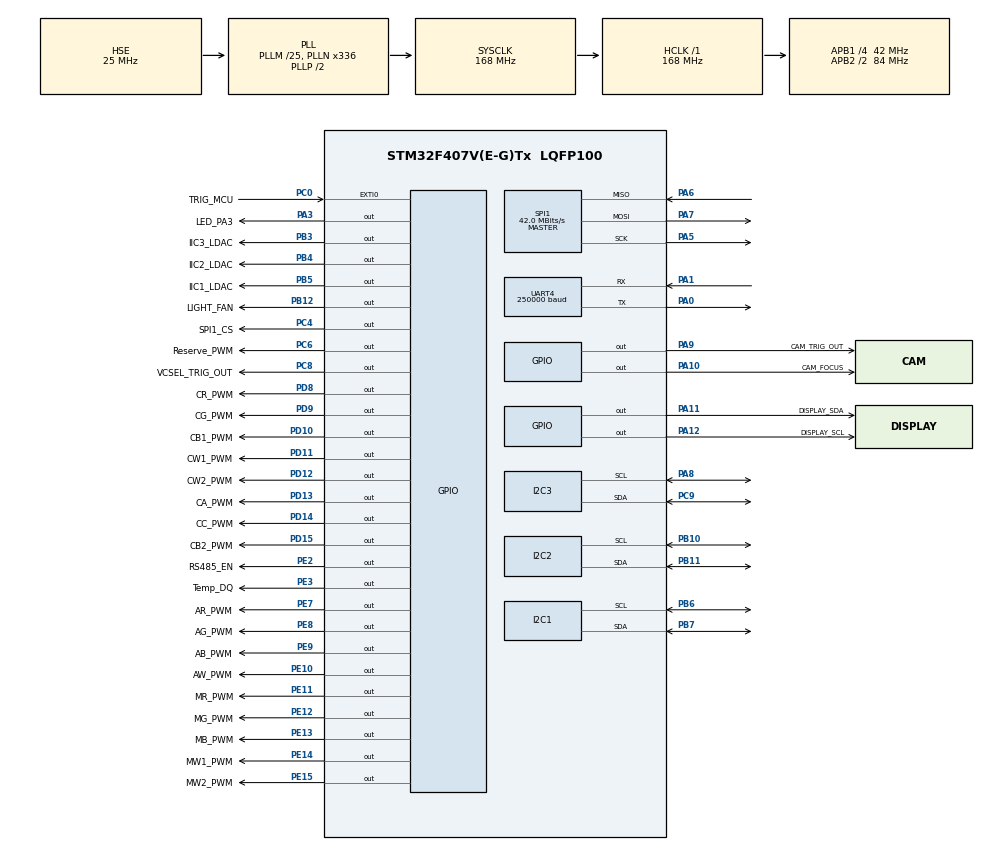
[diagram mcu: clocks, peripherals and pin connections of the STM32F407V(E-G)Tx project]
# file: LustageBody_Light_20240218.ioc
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Dma.Request0=UART4_RX
Dma.Request1=UART4_TX
Dma.UART4_RX.0.Direction=DMA_PERIPH_TO_MEMORY
Dma.UART4_RX.0.FIFOMode=DMA_FIFOMODE_DISABLE
Dma.UART4_RX.0.Instance=DMA1_Stream2
Dma.UART4_RX.0.MemDataAlignment=DMA_MDATAALIGN_BYTE
Dma.UART4_RX.0.MemInc=DMA_MINC_ENABLE
Dma.UART4_RX.0.Mode=DMA_NORMAL
Dma.UART4_RX.0.PeriphDataAlignment=DMA_PDATAALIGN_BYTE
Dma.UART4_RX.0.PeriphInc=DMA_PINC_DISABLE
Dma.UART4_RX.0.Priority=DMA_PRIORITY_LOW
Dma.UART4_TX.1.Direction=DMA_MEMORY_TO_PERIPH
Dma.UART4_TX.1.FIFOMode=DMA_FIFOMODE_DISABLE
Dma.UART4_TX.1.Instance=DMA1_Stream4
Dma.UART4_TX.1.MemDataAlignment=DMA_MDATAALIGN_BYTE
Dma.UART4_TX.1.MemInc=DMA_MINC_ENABLE
Dma.UART4_TX.1.Mode=DMA_NORMAL
Dma.UART4_TX.1.PeriphDataAlignment=DMA_PDATAALIGN_BYTE
Dma.UART4_TX.1.PeriphInc=DMA_PINC_DISABLE
Dma.UART4_TX.1.Priority=DMA_PRIORITY_LOW
I2C1.I2C_Mode=I2C_Fast
I2C2.I2C_Mode=I2C_Fast
I2C3.I2C_Mode=I2C_Fast
Mcu.Family=STM32F4
Mcu.Name=STM32F407V(E-G)Tx
Mcu.Package=LQFP100
NVIC.DMA1_Stream2_IRQn=true\:0\:0\:true\:false\:true\:false\:true\:true
NVIC.DMA1_Stream4_IRQn=true\:0\:0\:true\:false\:true\:false\:true\:true
NVIC.EXTI0_IRQn=true\:5\:0\:true\:false\:true\:true\:true\:true
NVIC.PriorityGroup=NVIC_PRIORITYGROUP_4
NVIC.TIM1_BRK_TIM9_IRQn=true\:0\:0\:false\:false\:true\:true\:true\:true
NVIC.TIM1_UP_TIM10_IRQn=true\:10\:0\:true\:false\:true\:true\:true\:true
NVIC.TIM2_IRQn=true\:0\:0\:true\:false\:true\:true\:true\:true
NVIC.TIM3_IRQn=true\:0\:0\:true\:false\:true\:true\:true\:true
NVIC.TIM4_IRQn=true\:0\:0\:false\:false\:true\:true\:true\:true
NVIC.TIM5_IRQn=true\:3\:0\:true\:false\:true\:true\:true\:true
NVIC.TIM6_DAC_IRQn=true\:10\:0\:true\:false\:true\:true\:true\:true
NVIC.TIM7_IRQn=true\:15\:0\:true\:false\:true\:true\:true\:true
NVIC.TIM8_BRK_TIM12_IRQn=true\:5\:0\:true\:false\:true\:true\:true\:true
NVIC.TIM8_UP_TIM13_IRQn=true\:5\:0\:true\:false\:true\:true\:true\:true
NVIC.UART4_IRQn=true\:0\:0\:true\:false\:true\:true\:true\:true
PA0-WKUP.Mode=Asynchronous
PA0-WKUP.Signal=UART4_TX
PA1.Mode=Asynchronous
PA1.Signal=UART4_RX
PA10.GPIO_Label=CAM_FOCUS
PA10.Signal=GPIO_Output
PA11.GPIO_Label=DISPLAY_SDA
PA11.Signal=GPIO_Output
PA12.GPIO_Label=DISPLAY_SCL
PA12.Signal=GPIO_Output
PA13.Mode=Serial_Wire
PA13.Signal=SYS_JTMS-SWDIO
PA14.Mode=Serial_Wire
PA14.Signal=SYS_JTCK-SWCLK
PA3.GPIO_Label=LED_PA3
PA3.GPIO_Speed=GPIO_SPEED_FREQ_LOW
PA3.PinState=GPIO_PIN_SET
PA3.Signal=GPIO_Output
PA5.Mode=Full_Duplex_Master
PA5.Signal=SPI1_SCK
PA6.Mode=Full_Duplex_Master
PA6.Signal=SPI1_MISO
PA7.Mode=Full_Duplex_Master
PA7.Signal=SPI1_MOSI
PA8.Mode=I2C
PA8.Signal=I2C3_SCL
PA9.GPIO_Label=CAM_TRIG_OUT
PA9.Signal=GPIO_Output
PB10.Mode=I2C
PB10.Signal=I2C2_SCL
PB11.Mode=I2C
PB11.Signal=I2C2_SDA
PB12.GPIO_Label=LIGHT_FAN
PB12.Signal=GPIO_Output
PB3.GPIO_Label=IIC3_LDAC
PB3.Signal=GPIO_Output
PB4.GPIO_Label=IIC2_LDAC
PB4.Signal=GPIO_Output
PB5.GPIO_Label=IIC1_LDAC
PB5.Signal=GPIO_Output
PB6.Mode=I2C
PB6.Signal=I2C1_SCL
PB7.Mode=I2C
PB7.Signal=I2C1_SDA
PC0.GPIO_Label=TRIG_MCU
PC0.Signal=GPXTI0
PC4.GPIO_Label=SPI1_CS
PC4.Signal=GPIO_Output
PC6.GPIO_Label=Reserve_PWM
PC6.Signal=GPIO_Output
PC8.GPIO_Label=VCSEL_TRIG_OUT
PC8.Signal=GPIO_Output
PC9.Mode=I2C
PC9.Signal=I2C3_SDA
PD10.GPIO_Label=CB1_PWM
PD10.GPIO_Speed=GPIO_SPEED_FREQ_VERY_HIGH
PD10.Signal=GPIO_Output
PD11.GPIO_Label=CW1_PWM
PD11.GPIO_Speed=GPIO_SPEED_FREQ_VERY_HIGH
PD11.Signal=GPIO_Output
PD12.GPIO_Label=CW2_PWM
PD12.GPIO_Speed=GPIO_SPEED_FREQ_VERY_HIGH
PD12.Signal=GPIO_Output
PD13.GPIO_Label=CA_PWM
PD13.GPIO_Speed=GPIO_SPEED_FREQ_VERY_HIGH
PD13.Signal=GPIO_Output
PD14.GPIO_Label=CC_PWM
PD14.GPIO_Speed=GPIO_SPEED_FREQ_VERY_HIGH
PD14.Signal=GPIO_Output
PD15.GPIO_Label=CB2_PWM
PD15.GPIO_Speed=GPIO_SPEED_FREQ_VERY_HIGH
PD15.Signal=GPIO_Output
PD8.GPIO_Label=CR_PWM
PD8.GPIO_Speed=GPIO_SPEED_FREQ_VERY_HIGH
PD8.Signal=GPIO_Output
PD9.GPIO_Label=CG_PWM
PD9.GPIO_Speed=GPIO_SPEED_FREQ_VERY_HIGH
PD9.Signal=GPIO_Output
PE10.GPIO_Label=AW_PWM
PE10.GPIO_Speed=GPIO_SPEED_FREQ_VERY_HIGH
PE10.Signal=GPIO_Output
PE11.GPIO_Label=MR_PWM
PE11.GPIO_Speed=GPIO_SPEED_FREQ_VERY_HIGH
PE11.Signal=GPIO_Output
PE12.GPIO_Label=MG_PWM
PE12.GPIO_Speed=GPIO_SPEED_FREQ_VERY_HIGH
PE12.Signal=GPIO_Output
PE13.GPIO_Label=MB_PWM
PE13.GPIO_Speed=GPIO_SPEED_FREQ_VERY_HIGH
PE13.Signal=GPIO_Output
PE14.GPIO_Label=MW1_PWM
PE14.GPIO_Speed=GPIO_SPEED_FREQ_VERY_HIGH
PE14.Signal=GPIO_Output
PE15.GPIO_Label=MW2_PWM
PE15.GPIO_Speed=GPIO_SPEED_FREQ_VERY_HIGH
PE15.Signal=GPIO_Output
PE2.GPIO_Label=RS485_EN
PE2.Signal=GPIO_Output
PE3.GPIO_Label=Temp_DQ
PE3.Signal=GPIO_Output
PE7.GPIO_Label=AR_PWM
PE7.GPIO_Speed=GPIO_SPEED_FREQ_VERY_HIGH
PE7.Signal=GPIO_Output
PE8.GPIO_Label=AG_PWM
PE8.GPIO_Speed=GPIO_SPEED_FREQ_VERY_HIGH
PE8.Signal=GPIO_Output
PE9.GPIO_Label=AB_PWM
PE9.GPIO_Speed=GPIO_SPEED_FREQ_VERY_HIGH
PE9.Signal=GPIO_Output
PH0-OSC_IN.Mode=HSE-External-Oscillator
PH0-OSC_IN.Signal=RCC_OSC_IN
PH1-OSC_OUT.Mode=HSE-External-Oscillator
PH1-OSC_OUT.Signal=RCC_OSC_OUT
ProjectManager.HeapSize=0x200
ProjectManager.StackSize=0x400
ProjectManager.TargetToolchain=MDK-ARM V5.32
RCC.48MHZClocksFreq_Value=84000000
RCC.AHBFreq_Value=168000000
RCC.APB1CLKDivider=RCC_HCLK_DIV4
RCC.APB1Freq_Value=42000000
RCC.APB1TimFreq_Value=84000000
RCC.APB2CLKDivider=RCC_HCLK_DIV2
RCC.APB2Freq_Value=84000000
RCC.APB2TimFreq_Value=168000000
RCC.CortexFreq_Value=168000000
RCC.HCLKFreq_Value=168000000
RCC.HSE_VALUE=25000000
RCC.HSI_VALUE=16000000
RCC.LSE_VALUE=32768
RCC.PLLM=25
RCC.PLLN=336
RCC.PLLSourceVirtual=RCC_PLLSOURCE_HSE
RCC.SYSCLKFreq_VALUE=168000000
RCC.SYSCLKSource=RCC_SYSCLKSOURCE_PLLCLK
RCC.VCOOutputFreq_Value=336000000
SPI1.BaudRatePrescaler=SPI_BAUDRATEPRESCALER_2
SPI1.CalculateBaudRate=42.0 MBits/s
SPI1.Direction=SPI_DIRECTION_2LINES
SPI1.Mode=SPI_MODE_MASTER
SPI1.VirtualType=VM_MASTER
TIM1.AutoReloadPreload=TIM_AUTORELOAD_PRELOAD_ENABLE
TIM1.Period=840-1
TIM10.Period=1680-1
TIM12.Period=840-1
TIM2.AutoReloadPreload=TIM_AUTORELOAD_PRELOAD_ENABLE
TIM2.Period=420-1
TIM2.Prescaler=0
TIM3.AutoReloadPreload=TIM_AUTORELOAD_PRELOAD_ENABLE
TIM3.Period=420-1
TIM3.Prescaler=0
TIM4.Period=420-1
TIM5.Period=8400-1
TIM6.AutoReloadPreload=TIM_AUTORELOAD_PRELOAD_ENABLE
TIM6.Period=420-1
TIM7.AutoReloadPreload=TIM_AUTORELOAD_PRELOAD_ENABLE
TIM7.Period=840-1
TIM8.Period=1000-1
TIM8.Prescaler=1680
TIM9.Period=20000-1
TIM9.Prescaler=16800-1
UART4.BaudRate=250000
UART4.VirtualMode=Asynchronous
VP_TIM10_VS_ClockSourceINT.Mode=Enable_Timer
VP_TIM12_VS_ClockSourceINT.Mode=Internal
VP_TIM1_VS_ClockSourceINT.Mode=Internal
VP_TIM2_VS_ClockSourceINT.Mode=Internal
VP_TIM3_VS_ClockSourceINT.Mode=Internal
VP_TIM4_VS_ClockSourceINT.Mode=Internal
VP_TIM5_VS_ClockSourceINT.Mode=Internal
VP_TIM6_VS_ClockSourceINT.Mode=Enable_Timer
VP_TIM7_VS_ClockSourceINT.Mode=Enable_Timer
VP_TIM8_VS_ClockSourceINT.Mode=Internal
VP_TIM9_VS_ClockSourceINT.Mode=Internal
board=custom

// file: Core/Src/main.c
/* USER CODE BEGIN Header */
/**
  ******************************************************************************
  * @file           : main.c
  * @brief          : Main program body
  ******************************************************************************
  * @attention
  *
  * Copyright (c) 2024 STMicroelectronics.
  * All rights reserved.
  *
  * This software is licensed under terms that can be found in the LICENSE file
  * in the root directory of this software component.
  * If no LICENSE file comes with this software, it is provided AS-IS.
  *
  ******************************************************************************
  */
/* USER CODE END Header */
#include "main.h"

/* USER CODE BEGIN Includes */
#include "user.h"
#include "board_i2c.h"
#include "bsp_flash.h"
#include "tm1650.h"
#include "drv_18b20.h"
/* USER CODE END Includes */

I2C_HandleTypeDef hi2c1;
I2C_HandleTypeDef hi2c2;
I2C_HandleTypeDef hi2c3;

SPI_HandleTypeDef hspi1;

TIM_HandleTypeDef htim1;
TIM_HandleTypeDef htim2;
TIM_HandleTypeDef htim3;
TIM_HandleTypeDef htim4;
TIM_HandleTypeDef htim5;
TIM_HandleTypeDef htim6;
TIM_HandleTypeDef htim7;
TIM_HandleTypeDef htim8;
TIM_HandleTypeDef htim9;
TIM_HandleTypeDef htim10;
TIM_HandleTypeDef htim12;

UART_HandleTypeDef huart4;
DMA_HandleTypeDef hdma_uart4_rx;
DMA_HandleTypeDef hdma_uart4_tx;

void SystemClock_Config(void);
static void MX_GPIO_Init(void);
static void MX_DMA_Init(void);
static void MX_I2C1_Init(void);
static void MX_I2C2_Init(void);
static void MX_I2C3_Init(void);
static void MX_SPI1_Init(void);
static void MX_UART4_Init(void);
static void MX_TIM3_Init(void);
static void MX_TIM4_Init(void);
static void MX_TIM5_Init(void);
static void MX_TIM9_Init(void);
static void MX_TIM12_Init(void);
static void MX_TIM1_Init(void);
static void MX_TIM10_Init(void);
static void MX_TIM2_Init(void);
static void MX_TIM6_Init(void);
static void MX_TIM7_Init(void);
static void MX_TIM8_Init(void);

/* USER CODE BEGIN 0 */
extern FlashParam_TypeDef FlashParam_Struct;
extern LED_Para_TypeDef LED_Para_Struct ;
extern _18B20_Config_TypeDef _18B20_Config_Struct_Temp;
uint16_t time_count1=0,time_count2=0,time_cnt=0,time_cnt1=0;

uint8_t  cnt1 = 0,cnt2 = 0,cnt3 = 0,cnt_t = 0;
/* USER CODE END 0 */

int main(void)
{

  /* MCU Configuration--------------------------------------------------------*/

  /* Reset of all peripherals, Initializes the Flash interface and the Systick. */
  HAL_Init();

  /* Configure the system clock */
  SystemClock_Config();

  /* Initialize all configured peripherals */
  MX_GPIO_Init();
  MX_DMA_Init();
  MX_I2C1_Init();
  MX_I2C2_Init();
  MX_I2C3_Init();
  MX_SPI1_Init();
  MX_UART4_Init();
  MX_TIM3_Init();
  MX_TIM4_Init();
  MX_TIM5_Init();
  MX_TIM9_Init();
  MX_TIM12_Init();
  MX_TIM1_Init();
  MX_TIM10_Init();
  MX_TIM2_Init();
  MX_TIM6_Init();
  MX_TIM7_Init();
  MX_TIM8_Init();
  /* USER CODE BEGIN 2 */
  Comm_Init();
  IIC_Init();
  Parameter_Init();

  /* USER CODE END 2 */

  /* Infinite loop */
  /* USER CODE BEGIN WHILE */
  while (1)
  {

		Comm_Function_Handler();
	  LED_State_Updata();
		LED_OTP_Handler();

    /* USER CODE END WHILE */

    /* USER CODE BEGIN 3 */
//		HAL_Delay(100);
//		HAL_GPIO_TogglePin(LED_PA3_GPIO_Port,LED_PA3_Pin);

  }
  /* USER CODE END 3 */
}

void SystemClock_Config(void)
{
  RCC_OscInitTypeDef RCC_OscInitStruct = {0};
  RCC_ClkInitTypeDef RCC_ClkInitStruct = {0};

  /** Configure the main internal regulator output voltage
  */
  __HAL_RCC_PWR_CLK_ENABLE();
  __HAL_PWR_VOLTAGESCALING_CONFIG(PWR_REGULATOR_VOLTAGE_SCALE1);

  /** Initializes the RCC Oscillators according to the specified parameters
  * in the RCC_OscInitTypeDef structure.
  */
  RCC_OscInitStruct.OscillatorType = RCC_OSCILLATORTYPE_HSE;
  RCC_OscInitStruct.HSEState = RCC_HSE_ON;
  RCC_OscInitStruct.PLL.PLLState = RCC_PLL_ON;
  RCC_OscInitStruct.PLL.PLLSource = RCC_PLLSOURCE_HSE;
  RCC_OscInitStruct.PLL.PLLM = 25;
  RCC_OscInitStruct.PLL.PLLN = 336;
  RCC_OscInitStruct.PLL.PLLP = RCC_PLLP_DIV2;
  RCC_OscInitStruct.PLL.PLLQ = 4;
  if (HAL_RCC_OscConfig(&RCC_OscInitStruct) != HAL_OK)
  {
    Error_Handler();
  }

  /** Initializes the CPU, AHB and APB buses clocks
  */
  RCC_ClkInitStruct.ClockType = RCC_CLOCKTYPE_HCLK|RCC_CLOCKTYPE_SYSCLK
                              |RCC_CLOCKTYPE_PCLK1|RCC_CLOCKTYPE_PCLK2;
  RCC_ClkInitStruct.SYSCLKSource = RCC_SYSCLKSOURCE_PLLCLK;
  RCC_ClkInitStruct.AHBCLKDivider = RCC_SYSCLK_DIV1;
  RCC_ClkInitStruct.APB1CLKDivider = RCC_HCLK_DIV4;
  RCC_ClkInitStruct.APB2CLKDivider = RCC_HCLK_DIV2;

  if (HAL_RCC_ClockConfig(&RCC_ClkInitStruct, FLASH_LATENCY_5) != HAL_OK)
  {
    Error_Handler();
  }
}

static void MX_I2C1_Init(void)
{

  hi2c1.Instance = I2C1;
  hi2c1.Init.ClockSpeed = 400000;
  hi2c1.Init.DutyCycle = I2C_DUTYCYCLE_2;
  hi2c1.Init.OwnAddress1 = 0;
  hi2c1.Init.AddressingMode = I2C_ADDRESSINGMODE_7BIT;
  hi2c1.Init.DualAddressMode = I2C_DUALADDRESS_DISABLE;
  hi2c1.Init.OwnAddress2 = 0;
  hi2c1.Init.GeneralCallMode = I2C_GENERALCALL_DISABLE;
  hi2c1.Init.NoStretchMode = I2C_NOSTRETCH_DISABLE;
  if (HAL_I2C_Init(&hi2c1) != HAL_OK)
  {
    Error_Handler();
  }

}

static void MX_I2C2_Init(void)
{

  hi2c2.Instance = I2C2;
  hi2c2.Init.ClockSpeed = 400000;
  hi2c2.Init.DutyCycle = I2C_DUTYCYCLE_2;
  hi2c2.Init.OwnAddress1 = 0;
  hi2c2.Init.AddressingMode = I2C_ADDRESSINGMODE_7BIT;
  hi2c2.Init.DualAddressMode = I2C_DUALADDRESS_DISABLE;
  hi2c2.Init.OwnAddress2 = 0;
  hi2c2.Init.GeneralCallMode = I2C_GENERALCALL_DISABLE;
  hi2c2.Init.NoStretchMode = I2C_NOSTRETCH_DISABLE;
  if (HAL_I2C_Init(&hi2c2) != HAL_OK)
  {
    Error_Handler();
  }

}

static void MX_I2C3_Init(void)
{

  hi2c3.Instance = I2C3;
  hi2c3.Init.ClockSpeed = 400000;
  hi2c3.Init.DutyCycle = I2C_DUTYCYCLE_2;
  hi2c3.Init.OwnAddress1 = 0;
  hi2c3.Init.AddressingMode = I2C_ADDRESSINGMODE_7BIT;
  hi2c3.Init.DualAddressMode = I2C_DUALADDRESS_DISABLE;
  hi2c3.Init.OwnAddress2 = 0;
  hi2c3.Init.GeneralCallMode = I2C_GENERALCALL_DISABLE;
  hi2c3.Init.NoStretchMode = I2C_NOSTRETCH_DISABLE;
  if (HAL_I2C_Init(&hi2c3) != HAL_OK)
  {
    Error_Handler();
  }

}

static void MX_SPI1_Init(void)
{

  /* SPI1 parameter configuration*/
  hspi1.Instance = SPI1;
  hspi1.Init.Mode = SPI_MODE_MASTER;
  hspi1.Init.Direction = SPI_DIRECTION_2LINES;
  hspi1.Init.DataSize = SPI_DATASIZE_8BIT;
  hspi1.Init.CLKPolarity = SPI_POLARITY_LOW;
  hspi1.Init.CLKPhase = SPI_PHASE_1EDGE;
  hspi1.Init.NSS = SPI_NSS_SOFT;
  hspi1.Init.BaudRatePrescaler = SPI_BAUDRATEPRESCALER_2;
  hspi1.Init.FirstBit = SPI_FIRSTBIT_MSB;
  hspi1.Init.TIMode = SPI_TIMODE_DISABLE;
  hspi1.Init.CRCCalculation = SPI_CRCCALCULATION_DISABLE;
  hspi1.Init.CRCPolynomial = 10;
  if (HAL_SPI_Init(&hspi1) != HAL_OK)
  {
    Error_Handler();
  }

}

static void MX_TIM1_Init(void)
{

  TIM_ClockConfigTypeDef sClockSourceConfig = {0};
  TIM_MasterConfigTypeDef sMasterConfig = {0};

  htim1.Instance = TIM1;
  htim1.Init.Prescaler = 0;
  htim1.Init.CounterMode = TIM_COUNTERMODE_UP;
  htim1.Init.Period = 840-1;
  htim1.Init.ClockDivision = TIM_CLOCKDIVISION_DIV1;
  htim1.Init.RepetitionCounter = 0;
  htim1.Init.AutoReloadPreload = TIM_AUTORELOAD_PRELOAD_ENABLE;
  if (HAL_TIM_Base_Init(&htim1) != HAL_OK)
  {
    Error_Handler();
  }
  sClockSourceConfig.ClockSource = TIM_CLOCKSOURCE_INTERNAL;
  if (HAL_TIM_ConfigClockSource(&htim1, &sClockSourceConfig) != HAL_OK)
  {
    Error_Handler();
  }
  sMasterConfig.MasterOutputTrigger = TIM_TRGO_RESET;
  sMasterConfig.MasterSlaveMode = TIM_MASTERSLAVEMODE_DISABLE;
  if (HAL_TIMEx_MasterConfigSynchronization(&htim1, &sMasterConfig) != HAL_OK)
  {
    Error_Handler();
  }

}

static void MX_TIM2_Init(void)
{

  TIM_ClockConfigTypeDef sClockSourceConfig = {0};
  TIM_MasterConfigTypeDef sMasterConfig = {0};

  htim2.Instance = TIM2;
  htim2.Init.Prescaler = 0;
  htim2.Init.CounterMode = TIM_COUNTERMODE_UP;
  htim2.Init.Period = 420-1;
  htim2.Init.ClockDivision = TIM_CLOCKDIVISION_DIV1;
  htim2.Init.AutoReloadPreload = TIM_AUTORELOAD_PRELOAD_ENABLE;
  if (HAL_TIM_Base_Init(&htim2) != HAL_OK)
  {
    Error_Handler();
  }
  sClockSourceConfig.ClockSource = TIM_CLOCKSOURCE_INTERNAL;
  if (HAL_TIM_ConfigClockSource(&htim2, &sClockSourceConfig) != HAL_OK)
  {
    Error_Handler();
  }
  sMasterConfig.MasterOutputTrigger = TIM_TRGO_RESET;
  sMasterConfig.MasterSlaveMode = TIM_MASTERSLAVEMODE_DISABLE;
  if (HAL_TIMEx_MasterConfigSynchronization(&htim2, &sMasterConfig) != HAL_OK)
  {
    Error_Handler();
  }

}

static void MX_TIM3_Init(void)
{

  TIM_ClockConfigTypeDef sClockSourceConfig = {0};
  TIM_MasterConfigTypeDef sMasterConfig = {0};

  htim3.Instance = TIM3;
  htim3.Init.Prescaler = 0;
  htim3.Init.CounterMode = TIM_COUNTERMODE_UP;
  htim3.Init.Period = 420-1;
  htim3.Init.ClockDivision = TIM_CLOCKDIVISION_DIV1;
  htim3.Init.AutoReloadPreload = TIM_AUTORELOAD_PRELOAD_ENABLE;
  if (HAL_TIM_Base_Init(&htim3) != HAL_OK)
  {
    Error_Handler();
  }
  sClockSourceConfig.ClockSource = TIM_CLOCKSOURCE_INTERNAL;
  if (HAL_TIM_ConfigClockSource(&htim3, &sClockSourceConfig) != HAL_OK)
  {
    Error_Handler();
  }
  sMasterConfig.MasterOutputTrigger = TIM_TRGO_RESET;
  sMasterConfig.MasterSlaveMode = TIM_MASTERSLAVEMODE_DISABLE;
  if (HAL_TIMEx_MasterConfigSynchronization(&htim3, &sMasterConfig) != HAL_OK)
  {
    Error_Handler();
  }

}

static void MX_TIM4_Init(void)
{

  TIM_ClockConfigTypeDef sClockSourceConfig = {0};
  TIM_MasterConfigTypeDef sMasterConfig = {0};

  htim4.Instance = TIM4;
  htim4.Init.Prescaler = 0;
  htim4.Init.CounterMode = TIM_COUNTERMODE_UP;
  htim4.Init.Period = 420-1;
  htim4.Init.ClockDivision = TIM_CLOCKDIVISION_DIV1;
  htim4.Init.AutoReloadPreload = TIM_AUTORELOAD_PRELOAD_DISABLE;
  if (HAL_TIM_Base_Init(&htim4) != HAL_OK)
  {
    Error_Handler();
  }
  sClockSourceConfig.ClockSource = TIM_CLOCKSOURCE_INTERNAL;
  if (HAL_TIM_ConfigClockSource(&htim4, &sClockSourceConfig) != HAL_OK)
  {
    Error_Handler();
  }
  sMasterConfig.MasterOutputTrigger = TIM_TRGO_RESET;
  sMasterConfig.MasterSlaveMode = TIM_MASTERSLAVEMODE_DISABLE;
  if (HAL_TIMEx_MasterConfigSynchronization(&htim4, &sMasterConfig) != HAL_OK)
  {
    Error_Handler();
  }

}

static void MX_TIM5_Init(void)
{

  TIM_ClockConfigTypeDef sClockSourceConfig = {0};
  TIM_MasterConfigTypeDef sMasterConfig = {0};

  htim5.Instance = TIM5;
  htim5.Init.Prescaler = 0;
  htim5.Init.CounterMode = TIM_COUNTERMODE_UP;
  htim5.Init.Period = 8400-1;
  htim5.Init.ClockDivision = TIM_CLOCKDIVISION_DIV1;
  htim5.Init.AutoReloadPreload = TIM_AUTORELOAD_PRELOAD_DISABLE;
  if (HAL_TIM_Base_Init(&htim5) != HAL_OK)
  {
    Error_Handler();
  }
  sClockSourceConfig.ClockSource = TIM_CLOCKSOURCE_INTERNAL;
  if (HAL_TIM_ConfigClockSource(&htim5, &sClockSourceConfig) != HAL_OK)
  {
    Error_Handler();
  }
  sMasterConfig.MasterOutputTrigger = TIM_TRGO_RESET;
  sMasterConfig.MasterSlaveMode = TIM_MASTERSLAVEMODE_DISABLE;
  if (HAL_TIMEx_MasterConfigSynchronization(&htim5, &sMasterConfig) != HAL_OK)
  {
    Error_Handler();
  }

}

static void MX_TIM6_Init(void)
{

  TIM_MasterConfigTypeDef sMasterConfig = {0};

  htim6.Instance = TIM6;
  htim6.Init.Prescaler = 0;
  htim6.Init.CounterMode = TIM_COUNTERMODE_UP;
  htim6.Init.Period = 420-1;
  htim6.Init.AutoReloadPreload = TIM_AUTORELOAD_PRELOAD_ENABLE;
  if (HAL_TIM_Base_Init(&htim6) != HAL_OK)
  {
    Error_Handler();
  }
  sMasterConfig.MasterOutputTrigger = TIM_TRGO_RESET;
  sMasterConfig.MasterSlaveMode = TIM_MASTERSLAVEMODE_DISABLE;
  if (HAL_TIMEx_MasterConfigSynchronization(&htim6, &sMasterConfig) != HAL_OK)
  {
    Error_Handler();
  }

}

static void MX_TIM7_Init(void)
{

  TIM_MasterConfigTypeDef sMasterConfig = {0};

  htim7.Instance = TIM7;
  htim7.Init.Prescaler = 0;
  htim7.Init.CounterMode = TIM_COUNTERMODE_UP;
  htim7.Init.Period = 840-1;
  htim7.Init.AutoReloadPreload = TIM_AUTORELOAD_PRELOAD_ENABLE;
  if (HAL_TIM_Base_Init(&htim7) != HAL_OK)
  {
    Error_Handler();
  }
  sMasterConfig.MasterOutputTrigger = TIM_TRGO_RESET;
  sMasterConfig.MasterSlaveMode = TIM_MASTERSLAVEMODE_DISABLE;
  if (HAL_TIMEx_MasterConfigSynchronization(&htim7, &sMasterConfig) != HAL_OK)
  {
    Error_Handler();
  }

}

static void MX_TIM8_Init(void)
{

  TIM_ClockConfigTypeDef sClockSourceConfig = {0};
  TIM_MasterConfigTypeDef sMasterConfig = {0};

  htim8.Instance = TIM8;
  htim8.Init.Prescaler = 1680;
  htim8.Init.CounterMode = TIM_COUNTERMODE_UP;
  htim8.Init.Period = 1000-1;
  htim8.Init.ClockDivision = TIM_CLOCKDIVISION_DIV1;
  htim8.Init.RepetitionCounter = 0;
  htim8.Init.AutoReloadPreload = TIM_AUTORELOAD_PRELOAD_DISABLE;
  if (HAL_TIM_Base_Init(&htim8) != HAL_OK)
  {
    Error_Handler();
  }
  sClockSourceConfig.ClockSource = TIM_CLOCKSOURCE_INTERNAL;
  if (HAL_TIM_ConfigClockSource(&htim8, &sClockSourceConfig) != HAL_OK)
  {
    Error_Handler();
  }
  sMasterConfig.MasterOutputTrigger = TIM_TRGO_RESET;
  sMasterConfig.MasterSlaveMode = TIM_MASTERSLAVEMODE_DISABLE;
  if (HAL_TIMEx_MasterConfigSynchronization(&htim8, &sMasterConfig) != HAL_OK)
  {
    Error_Handler();
  }

}

static void MX_TIM9_Init(void)
{

  TIM_ClockConfigTypeDef sClockSourceConfig = {0};

  htim9.Instance = TIM9;
  htim9.Init.Prescaler = 16800-1;
  htim9.Init.CounterMode = TIM_COUNTERMODE_UP;
  htim9.Init.Period = 20000-1;
  htim9.Init.ClockDivision = TIM_CLOCKDIVISION_DIV1;
  htim9.Init.AutoReloadPreload = TIM_AUTORELOAD_PRELOAD_DISABLE;
  if (HAL_TIM_Base_Init(&htim9) != HAL_OK)
  {
    Error_Handler();
  }
  sClockSourceConfig.ClockSource = TIM_CLOCKSOURCE_INTERNAL;
  if (HAL_TIM_ConfigClockSource(&htim9, &sClockSourceConfig) != HAL_OK)
  {
    Error_Handler();
  }

}

static void MX_TIM10_Init(void)
{

  htim10.Instance = TIM10;
  htim10.Init.Prescaler = 0;
  htim10.Init.CounterMode = TIM_COUNTERMODE_UP;
  htim10.Init.Period = 1680-1;
  htim10.Init.ClockDivision = TIM_CLOCKDIVISION_DIV1;
  htim10.Init.AutoReloadPreload = TIM_AUTORELOAD_PRELOAD_DISABLE;
  if (HAL_TIM_Base_Init(&htim10) != HAL_OK)
  {
    Error_Handler();
  }

}

static void MX_TIM12_Init(void)
{

  TIM_ClockConfigTypeDef sClockSourceConfig = {0};

  htim12.Instance = TIM12;
  htim12.Init.Prescaler = 0;
  htim12.Init.CounterMode = TIM_COUNTERMODE_UP;
  htim12.Init.Period = 840-1;
  htim12.Init.ClockDivision = TIM_CLOCKDIVISION_DIV1;
  htim12.Init.AutoReloadPreload = TIM_AUTORELOAD_PRELOAD_DISABLE;
  if (HAL_TIM_Base_Init(&htim12) != HAL_OK)
  {
    Error_Handler();
  }
  sClockSourceConfig.ClockSource = TIM_CLOCKSOURCE_INTERNAL;
  if (HAL_TIM_ConfigClockSource(&htim12, &sClockSourceConfig) != HAL_OK)
  {
    Error_Handler();
  }

}

static void MX_UART4_Init(void)
{

  huart4.Instance = UART4;
  huart4.Init.BaudRate = 250000;
  huart4.Init.WordLength = UART_WORDLENGTH_8B;
  huart4.Init.StopBits = UART_STOPBITS_1;
  huart4.Init.Parity = UART_PARITY_NONE;
  huart4.Init.Mode = UART_MODE_TX_RX;
  huart4.Init.HwFlowCtl = UART_HWCONTROL_NONE;
  huart4.Init.OverSampling = UART_OVERSAMPLING_16;
  if (HAL_UART_Init(&huart4) != HAL_OK)
  {
    Error_Handler();
  }

}

static void MX_DMA_Init(void)
{

  /* DMA controller clock enable */
  __HAL_RCC_DMA1_CLK_ENABLE();

  /* DMA interrupt init */
  /* DMA1_Stream2_IRQn interrupt configuration */
  HAL_NVIC_SetPriority(DMA1_Stream2_IRQn, 0, 0);
  HAL_NVIC_EnableIRQ(DMA1_Stream2_IRQn);
  /* DMA1_Stream4_IRQn interrupt configuration */
  HAL_NVIC_SetPriority(DMA1_Stream4_IRQn, 0, 0);
  HAL_NVIC_EnableIRQ(DMA1_Stream4_IRQn);

}

static void MX_GPIO_Init(void)
{
  GPIO_InitTypeDef GPIO_InitStruct = {0};

  /* GPIO Ports Clock Enable */
  __HAL_RCC_GPIOE_CLK_ENABLE();
  __HAL_RCC_GPIOH_CLK_ENABLE();
  __HAL_RCC_GPIOC_CLK_ENABLE();
  __HAL_RCC_GPIOA_CLK_ENABLE();
  __HAL_RCC_GPIOB_CLK_ENABLE();
  __HAL_RCC_GPIOD_CLK_ENABLE();

  /*Configure GPIO pin Output Level */
  HAL_GPIO_WritePin(GPIOE, RS485_EN_Pin|Temp_DQ_Pin|AR_PWM_Pin|AG_PWM_Pin
                          |AB_PWM_Pin|AW_PWM_Pin|MR_PWM_Pin|MG_PWM_Pin
                          |MB_PWM_Pin|MW1_PWM_Pin|MW2_PWM_Pin, GPIO_PIN_RESET);

  /*Configure GPIO pin Output Level */
  HAL_GPIO_WritePin(LED_PA3_GPIO_Port, LED_PA3_Pin, GPIO_PIN_SET);

  /*Configure GPIO pin Output Level */
  HAL_GPIO_WritePin(GPIOC, SPI1_CS_Pin|Reserve_PWM_Pin|VCSEL_TRIG_OUT_Pin, GPIO_PIN_RESET);

  /*Configure GPIO pin Output Level */
  HAL_GPIO_WritePin(GPIOB, LIGHT_FAN_Pin|IIC3_LDAC_Pin|IIC2_LDAC_Pin|IIC1_LDAC_Pin, GPIO_PIN_RESET);

  /*Configure GPIO pin Output Level */
  HAL_GPIO_WritePin(GPIOD, CR_PWM_Pin|CG_PWM_Pin|CB1_PWM_Pin|CW1_PWM_Pin
                          |CW2_PWM_Pin|CA_PWM_Pin|CC_PWM_Pin|CB2_PWM_Pin, GPIO_PIN_RESET);

  /*Configure GPIO pin Output Level */
  HAL_GPIO_WritePin(GPIOA, CAM_TRIG_OUT_Pin|CAM_FOCUS_Pin|DISPLAY_SDA_Pin|DISPLAY_SCL_Pin, GPIO_PIN_RESET);

  /*Configure GPIO pins : RS485_EN_Pin Temp_DQ_Pin */
  GPIO_InitStruct.Pin = RS485_EN_Pin|Temp_DQ_Pin;
  GPIO_InitStruct.Mode = GPIO_MODE_OUTPUT_PP;
  GPIO_InitStruct.Pull = GPIO_NOPULL;
  GPIO_InitStruct.Speed = GPIO_SPEED_FREQ_LOW;
  HAL_GPIO_Init(GPIOE, &GPIO_InitStruct);

  /*Configure GPIO pin : TRIG_MCU_Pin */
  GPIO_InitStruct.Pin = TRIG_MCU_Pin;
  GPIO_InitStruct.Mode = GPIO_MODE_IT_RISING;
  GPIO_InitStruct.Pull = GPIO_NOPULL;
  HAL_GPIO_Init(TRIG_MCU_GPIO_Port, &GPIO_InitStruct);

  /*Configure GPIO pins : LED_PA3_Pin CAM_TRIG_OUT_Pin CAM_FOCUS_Pin DISPLAY_SDA_Pin
                           DISPLAY_SCL_Pin */
  GPIO_InitStruct.Pin = LED_PA3_Pin|CAM_TRIG_OUT_Pin|CAM_FOCUS_Pin|DISPLAY_SDA_Pin
                          |DISPLAY_SCL_Pin;
  GPIO_InitStruct.Mode = GPIO_MODE_OUTPUT_PP;
  GPIO_InitStruct.Pull = GPIO_NOPULL;
  GPIO_InitStruct.Speed = GPIO_SPEED_FREQ_LOW;
  HAL_GPIO_Init(GPIOA, &GPIO_InitStruct);

  /*Configure GPIO pins : SPI1_CS_Pin Reserve_PWM_Pin VCSEL_TRIG_OUT_Pin */
  GPIO_InitStruct.Pin = SPI1_CS_Pin|Reserve_PWM_Pin|VCSEL_TRIG_OUT_Pin;
  GPIO_InitStruct.Mode = GPIO_MODE_OUTPUT_PP;
  GPIO_InitStruct.Pull = GPIO_NOPULL;
  GPIO_InitStruct.Speed = GPIO_SPEED_FREQ_LOW;
  HAL_GPIO_Init(GPIOC, &GPIO_InitStruct);

  /*Configure GPIO pins : AR_PWM_Pin AG_PWM_Pin AB_PWM_Pin AW_PWM_Pin
                           MR_PWM_Pin MG_PWM_Pin MB_PWM_Pin MW1_PWM_Pin
                           MW2_PWM_Pin */
  GPIO_InitStruct.Pin = AR_PWM_Pin|AG_PWM_Pin|AB_PWM_Pin|AW_PWM_Pin
                          |MR_PWM_Pin|MG_PWM_Pin|MB_PWM_Pin|MW1_PWM_Pin
                          |MW2_PWM_Pin;
  GPIO_InitStruct.Mode = GPIO_MODE_OUTPUT_PP;
  GPIO_InitStruct.Pull = GPIO_NOPULL;
  GPIO_InitStruct.Speed = GPIO_SPEED_FREQ_VERY_HIGH;
  HAL_GPIO_Init(GPIOE, &GPIO_InitStruct);

  /*Configure GPIO pins : LIGHT_FAN_Pin IIC3_LDAC_Pin IIC2_LDAC_Pin IIC1_LDAC_Pin */
  GPIO_InitStruct.Pin = LIGHT_FAN_Pin|IIC3_LDAC_Pin|IIC2_LDAC_Pin|IIC1_LDAC_Pin;
  GPIO_InitStruct.Mode = GPIO_MODE_OUTPUT_PP;
  GPIO_InitStruct.Pull = GPIO_NOPULL;
  GPIO_InitStruct.Speed = GPIO_SPEED_FREQ_LOW;
  HAL_GPIO_Init(GPIOB, &GPIO_InitStruct);

  /*Configure GPIO pins : CR_PWM_Pin CG_PWM_Pin CB1_PWM_Pin CW1_PWM_Pin
                           CW2_PWM_Pin CA_PWM_Pin CC_PWM_Pin CB2_PWM_Pin */
  GPIO_InitStruct.Pin = CR_PWM_Pin|CG_PWM_Pin|CB1_PWM_Pin|CW1_PWM_Pin
                          |CW2_PWM_Pin|CA_PWM_Pin|CC_PWM_Pin|CB2_PWM_Pin;
  GPIO_InitStruct.Mode = GPIO_MODE_OUTPUT_PP;
  GPIO_InitStruct.Pull = GPIO_NOPULL;
  GPIO_InitStruct.Speed = GPIO_SPEED_FREQ_VERY_HIGH;
  HAL_GPIO_Init(GPIOD, &GPIO_InitStruct);

  /* EXTI interrupt init*/
  HAL_NVIC_SetPriority(EXTI0_IRQn, 5, 0);
  HAL_NVIC_EnableIRQ(EXTI0_IRQn);

}

/* USER CODE BEGIN 4 */
void HAL_GPIO_EXTI_Callback(uint16_t GPIO_Pin)
{
	if(GPIO_Pin & TRIG_MCU_Pin)
	{
     __HAL_TIM_CLEAR_IT(&htim6, TIM_IT_UPDATE);
		 __HAL_TIM_SetCounter(&htim6, 0);        /*开启定时器6，5us后中断检测触发电平，防抖动*/
					HAL_TIM_Base_Start_IT(&htim6);
		__HAL_TIM_CLEAR_IT(&htim9, TIM_IT_UPDATE);
		  __HAL_TIM_SetCounter(&htim9, 0);       /*开启定时器9，2S后若无新的触发则关闭外部中断*/
		HAL_TIM_Base_Start_IT(&htim9);
	}

}

/*定时器中断配置*/
/*TIM2  重光照模式下R通道输出占空比控制*/
/*TIM3  重光照模式下G通道输出占空比控制*/
/*TIM4  重光照模式下B通道输出占空比控制*/
/*TIM5  重光照模式下PWM频率控制 100us中断对应频率10kHz*/
/*TIM6  外部触发防抖检测 触发响应5us后检测触发电平*/
/*TIM7  触发脉宽控制，基础定时10us*/
/*TIM8  单反相机对焦脉宽，基础定时10ms*/
/*TIM9  触发间隔时间检测，定时2s，2s后若无新触发，则关闭外部中断*/
/*TIM10  相机触发延时控制，基础定时10us*/
/*TIM12  相机触发脉宽控制，基础定时10us*/
void HAL_TIM_PeriodElapsedCallback(TIM_HandleTypeDef *htim)
{
	if(htim == &htim2)                                                       /*重光照模式（或重光照调试模式）下R通道输出占空比控制*/
	{

			LED_Para_Struct.Relighting_parameter.State_LED_R = LIGHT_OFF ;
			 HAL_TIM_Base_Stop_IT(&htim2);
			__HAL_TIM_SetCounter(&htim2, 0);

	}
	else if(htim == &htim3)                                                 /*重光照模式（或重光照调试模式）下G通道输出占空比控制*/
	{

			LED_Para_Struct.Relighting_parameter.State_LED_G = LIGHT_OFF ;
					 HAL_TIM_Base_Stop_IT(&htim3);
			__HAL_TIM_SetCounter(&htim3, 0);

	}
	else if(htim == &htim4)                                                 /*重光照模式（或重光照调试模式）下B通道输出占空比控制*/
	{

			LED_Para_Struct.Relighting_parameter.State_LED_B = LIGHT_OFF ;
			HAL_TIM_Base_Stop_IT(&htim4);
			__HAL_TIM_SetCounter(&htim4, 0);

	}
	else if(htim == &htim5)                                                 /*重光照模式（或重光照调试模式）下PWM频率控制*/
	{
			  HAL_TIM_Base_Stop_IT(&htim2);
		__HAL_TIM_CLEAR_IT(&htim2, TIM_IT_UPDATE);
		__HAL_TIM_SetCounter(&htim2, 0);       /*关闭定时器2，停止占空比输出*/

			HAL_TIM_Base_Stop_IT(&htim3);
		__HAL_TIM_CLEAR_IT(&htim3, TIM_IT_UPDATE);
		__HAL_TIM_SetCounter(&htim3, 0);       /*关闭定时器3，停止占空比输出*/

			HAL_TIM_Base_Stop_IT(&htim4);
		__HAL_TIM_CLEAR_IT(&htim4, TIM_IT_UPDATE);
		__HAL_TIM_SetCounter(&htim4, 0);       /*关闭定时器4，停止占空比输出*/

		if(LED_Para_Struct.Relighting_parameter.Dr!=0)
		{
			LED_Para_Struct.Relighting_parameter.State_LED_R = LIGHT_ON;

			htim2.Init.Period = LED_Para_Struct.Relighting_parameter.Dr *84-1;
      __HAL_TIM_SetAutoreload(&htim2,htim2.Init.Period);    /*设置占空比*/
			HAL_TIM_Base_Start_IT(&htim2);		/*开启定时器2，进行占空比输出*/
		}
		else LED_Para_Struct.Relighting_parameter.State_LED_R = LIGHT_OFF;

		if(LED_Para_Struct.Relighting_parameter.Dg!=0)
		{
			LED_Para_Struct.Relighting_parameter.State_LED_G = LIGHT_ON;

			htim3.Init.Period = LED_Para_Struct.Relighting_parameter.Dg *84-1;
      __HAL_TIM_SetAutoreload(&htim3,htim3.Init.Period);    /*设置占空比*/
			HAL_TIM_Base_Start_IT(&htim3);		/*开启定时器3，进行占空比输出*/
		}
		else LED_Para_Struct.Relighting_parameter.State_LED_G = LIGHT_OFF;

		if(LED_Para_Struct.Relighting_parameter.Db!=0)
		{
			LED_Para_Struct.Relighting_parameter.State_LED_B = LIGHT_ON;

			htim4.Init.Period = LED_Para_Struct.Relighting_parameter.Db *84-1;
      __HAL_TIM_SetAutoreload(&htim4,htim4.Init.Period);    /*设置占空比*/
			HAL_TIM_Base_Start_IT(&htim4);		/*开启定时器4，进行占空比输出*/
		}
		else LED_Para_Struct.Relighting_parameter.State_LED_B = LIGHT_OFF;
	}

	else if(htim == &htim6)              /*5us后检测触发电平*/
	{
		LED_Para_Struct.Trig_Level = HAL_GPIO_ReadPin(TRIG_MCU_GPIO_Port,TRIG_MCU_Pin);
		if(LED_Para_Struct.Trig_Level)     /*触发有效*/
		{
			  LED_Para_Struct.Trig_Cnt++;
			if(LED_Para_Struct.Trig_Cnt == LED_Para_Struct.Data_Cycle_quantity)
			{
				LED_Para_Struct.Trig_Cnt = 1;
			}
        LED_Para_Struct.Camera_Trig_cnt	++;
			  LED_Para_Struct.Idle_Flag = 0;
//			LED_Para_Struct.Start_LED_TRIG_ON = 1;

				if(LED_Para_Struct.Mode == Material_solve_MODE)                                      /*材质解算模式下，赋值相应参数*/
				{
					if(LED_Para_Struct.Material_solve_parameter.R_Pulse[LED_Para_Struct.Trig_Cnt-1]!=0)
					{
						LED_Para_Struct.Material_solve_parameter.Switch_Pulse_R = LED_Para_Struct.Material_solve_parameter.R_Pulse[LED_Para_Struct.Trig_Cnt-1];
            LED_Para_Struct.Material_solve_parameter.R_Pulse_Flag = 1;
					}
					else
					{
						LED_Para_Struct.Material_solve_parameter.Switch_Pulse_R = 0;
						LED_Para_Struct.Material_solve_parameter.R_Pulse_Flag = 0;
					}
					if(LED_Para_Struct.Material_solve_parameter.G_Pulse[LED_Para_Struct.Trig_Cnt-1]!=0)
					{
						LED_Para_Struct.Material_solve_parameter.Switch_Pulse_G = LED_Para_Struct.Material_solve_parameter.G_Pulse[LED_Para_Struct.Trig_Cnt-1];
            LED_Para_Struct.Material_solve_parameter.G_Pulse_Flag = 1;
					}
					else
					{
						LED_Para_Struct.Material_solve_parameter.Switch_Pulse_G = 0;
						LED_Para_Struct.Material_solve_parameter.G_Pulse_Flag = 0;
					}
					if(LED_Para_Struct.Material_solve_parameter.B_Pulse[LED_Para_Struct.Trig_Cnt-1]!=0)
					{
						LED_Para_Struct.Material_solve_parameter.Switch_Pulse_B = LED_Para_Struct.Material_solve_parameter.B_Pulse[LED_Para_Struct.Trig_Cnt-1];
            LED_Para_Struct.Material_solve_parameter.B_Pulse_Flag = 1;
					}
					else
					{
						LED_Para_Struct.Material_solve_parameter.Switch_Pulse_B = 0;
						LED_Para_Struct.Material_solve_parameter.B_Pulse_Flag = 0;
					}
				}
				else if(LED_Para_Struct.Mode == OLAT_MODE)                                          /*OLAT模式下，赋值相应参数*/
				{
					if(LED_Para_Struct.OLAT_parameter.W_Pulse[LED_Para_Struct.Trig_Cnt-1]!=0)
					{
						LED_Para_Struct.OLAT_parameter.Switch_Pulse_W = LED_Para_Struct.OLAT_parameter.W_Pulse[LED_Para_Struct.Trig_Cnt-1];
					}
					else LED_Para_Struct.OLAT_parameter.Switch_Pulse_W = 0;
				}

				else if(LED_Para_Struct.Mode == Relighting_MODE)                                      /*重光照模式下，赋值相应参数*/
				{
					if(LED_Para_Struct.Relighting_parameter.Pulse[LED_Para_Struct.Trig_Cnt-1]!=0)
					{
						LED_Para_Struct.Relighting_parameter.Switch_Pulse = LED_Para_Struct.Relighting_parameter.Pulse[LED_Para_Struct.Trig_Cnt-1];

						           /*色坐标解析*/

						LED_Para_Struct.Relighting_parameter.Coordinate_X	= LED_Para_Struct.Relighting_parameter.Color_Coordinate_X[LED_Para_Struct.Trig_Cnt-1];
						LED_Para_Struct.Relighting_parameter.Coordinate_Y	= LED_Para_Struct.Relighting_parameter.Color_Coordinate_Y[LED_Para_Struct.Trig_Cnt-1];
					}
					else LED_Para_Struct.Relighting_parameter.Switch_Pulse = 0;
				}

			/*相机类型为单反，则需先进行对焦*/
			if(LED_Para_Struct.Camera_Type)
			{
					/*相机分频控制*/
				if(LED_Para_Struct.Camera_Trig_cnt == LED_Para_Struct.Camera_div_Frequency)
				{
					//LED_Para_Struct.Camera_Trig_cnt = 0;
					/*开启定时器8，进行相机对焦控制，基础步长10ms*/
					Camera_Focus_ON();
					__HAL_TIM_CLEAR_IT(&htim8, TIM_IT_UPDATE);
					__HAL_TIM_SetCounter(&htim8, 0);
					HAL_TIM_Base_Start_IT(&htim8);
				}
				else
				{
					LED_Para_Struct.Start_LED_TRIG_Flag = 1;
//				/*开启定时器7，进行光源触发脉宽控制，基础步长10us*/
//					__HAL_TIM_CLEAR_IT(&htim7, TIM_IT_UPDATE);
//					__HAL_TIM_SetCounter(&htim7, 0);
//					HAL_TIM_Base_Start_IT(&htim7);
				}
			}

			/*相机类型为工业相机，则直接进行光源触发控制和相机延迟触发控制*/
			else
			{
				if(LED_Para_Struct.Camera_Trig_cnt == LED_Para_Struct.Camera_div_Frequency)
				{
					LED_Para_Struct.Start_Camera_TRIG_Flag = 1;
				}
				else;

				LED_Para_Struct.Start_LED_TRIG_Flag = 1;

			}

    /*实际触发次数和设置触发次数相同时，关闭外部中断，防止误触发*/
			if(LED_Para_Struct.Trig_Cnt == LED_Para_Struct.Trig_Cnt_Set)
			{
	      HAL_NVIC_DisableIRQ(EXTI0_IRQn);    //关闭外部中断
			}
		}

		HAL_TIM_Base_Stop_IT(&htim6);       //关定时器
	}

	else if(htim == &htim7)             /*光源触发脉宽控制，基础步长10us*/
	{
		if(LED_Para_Struct.Mode == Material_solve_MODE)                                      /*材质解算模式下，进行脉宽控制*/
		{
			if(LED_Para_Struct.Material_solve_parameter.R_Pulse_Flag)
			{
				LED_Para_Struct.Material_solve_parameter.R_Pulse_cnt++;
				if(LED_Para_Struct.Material_solve_parameter.R_Pulse_cnt == LED_Para_Struct.Material_solve_parameter.Switch_Pulse_R )
				{
					LED_Para_Struct.MR_LED_State = LIGHT_OFF;
					LED_Para_Struct.Material_solve_parameter.R_Pulse_cnt = 0;
          LED_Para_Struct.Material_solve_parameter.R_Pulse_Flag = 0;
				}
			}

			if(LED_Para_Struct.Material_solve_parameter.G_Pulse_Flag)
			{
				LED_Para_Struct.Material_solve_parameter.G_Pulse_cnt++;
				if(LED_Para_Struct.Material_solve_parameter.G_Pulse_cnt == LED_Para_Struct.Material_solve_parameter.Switch_Pulse_G )
				{
					LED_Para_Struct.MG_LED_State = LIGHT_OFF;
					LED_Para_Struct.Material_solve_parameter.G_Pulse_cnt = 0;
					LED_Para_Struct.Material_solve_parameter.G_Pulse_Flag = 0;
				}
			}

			if(LED_Para_Struct.Material_solve_parameter.B_Pulse_Flag)
			{
				LED_Para_Struct.Material_solve_parameter.B_Pulse_cnt++;
				if(LED_Para_Struct.Material_solve_parameter.B_Pulse_cnt == LED_Para_Struct.Material_solve_parameter.Switch_Pulse_B )
				{
					LED_Para_Struct.MB_LED_State = LIGHT_OFF;
					LED_Para_Struct.Material_solve_parameter.B_Pulse_cnt = 0;
          LED_Para_Struct.Material_solve_parameter.B_Pulse_Flag = 0;
				}
			}

			/*RGB脉宽时间到则关闭脉宽控制定时器*/
			if((LED_Para_Struct.Material_solve_parameter.R_Pulse_Flag ==0)&&
			   (LED_Para_Struct.Material_solve_parameter.G_Pulse_Flag ==0)&&
			   (LED_Para_Struct.Material_solve_parameter.B_Pulse_Flag ==0))
			{
				HAL_TIM_Base_Stop_IT(&htim7);       //关闭脉宽控制定时器
			}
		}

		else if(LED_Para_Struct.Mode == OLAT_MODE)                                          /*OLAT模式下，进行脉宽控制*/
		{
				LED_Para_Struct.OLAT_parameter.W_Pulse_cnt++;
				if(LED_Para_Struct.OLAT_parameter.W_Pulse_cnt == LED_Para_Struct.OLAT_parameter.Switch_Pulse_W )
				{
					LED_Para_Struct.MW_LED_State = LIGHT_OFF;
					LED_Para_Struct.OLAT_parameter.W_Pulse_cnt = 0;
					HAL_TIM_Base_Stop_IT(&htim7);       //关闭脉宽控制定时器
				}
		}

			else if(LED_Para_Struct.Mode == Relighting_MODE)	                                  /*重光照模式下，进行脉宽控制*/
			{
				LED_Para_Struct.Relighting_parameter.Pulse_cnt++;
				if(LED_Para_Struct.Relighting_parameter.Pulse_cnt == LED_Para_Struct.Relighting_parameter.Switch_Pulse)
				{
					LED_Para_Struct.Relighting_State_LED = LIGHT_OFF;
					LED_Para_Struct.Relighting_parameter.Pulse_cnt = 0;
					LED_Para_Struct.Start_LED_TRIG_ON = 0;

					/*重光照脉宽控制时间到，关闭占空比及频率控制定时器*/
					HAL_TIM_Base_Stop_IT(&htim2);       //关定时器2
					HAL_TIM_Base_Stop_IT(&htim3);       //关定时器3
					HAL_TIM_Base_Stop_IT(&htim4);       //关定时器4
					HAL_TIM_Base_Stop_IT(&htim5);       //关定时器5

					HAL_TIM_Base_Stop_IT(&htim7);       //关闭脉宽控制定时器7
				}
			}

	}
	else if(htim == &htim8)             /*单反相机对焦10ms*/
	{
      Camera_Focus_OFF();
		 LED_Para_Struct.Start_LED_TRIG_Flag = 1;
		 LED_Para_Struct.Start_Camera_TRIG_Flag = 1;  /*单反相机对焦完成后光源相机有效触发*/
//		/*开启定时器7，进行光源触发脉宽控制，基础步长10us*/
//		__HAL_TIM_CLEAR_IT(&htim7, TIM_IT_UPDATE);
//		__HAL_TIM_SetCounter(&htim7, 0);
//		HAL_TIM_Base_Start_IT(&htim7);

		/*相机触发延时不为0，进行相机触发延迟控制*/
//		if(LED_Para_Struct.Camera_Trig_Delay != 0)
//		{
//			/*开启定时器10，进行相机触发延迟控制，基础步长10us*/
//			__HAL_TIM_CLEAR_IT(&htim10, TIM_IT_UPDATE);
//			__HAL_TIM_SetCounter(&htim10, 0);
//			HAL_TIM_Base_Start_IT(&htim10);
//		}
//		/*相机触发延时为0，则直接进行相机触发及触发脉宽控制*/
//		else
//		{
//			Camera_Trig_ON();
//			/*开启定时器12，进行相机触发脉宽控制，基础步长10us*/
//			__HAL_TIM_CLEAR_IT(&htim12, TIM_IT_UPDATE);
//			__HAL_TIM_SetCounter(&htim12, 0);
//			HAL_TIM_Base_Start_IT(&htim12);
//		}
     HAL_TIM_Base_Stop_IT(&htim8);       //关定时器
	}
	else if(htim == &htim9)             /*2S后若无新的触发信号，则关闭外部中断*/
	{

			HAL_NVIC_DisableIRQ(EXTI0_IRQn);    //关闭外部中断
      LED_Para_Struct.Idle_Flag = 1 ;     //触发空闲
			LED_Para_Struct.Trig_Cnt = 0;       //触发次数清0
		  LED_Para_Struct.Camera_Trig_cnt = 0;
			HAL_TIM_Base_Stop_IT(&htim9);       //关定时器
	}
	else if(htim == &htim10)             /*相机延迟触发控制，基础定时10us*/
	{
		 LED_Para_Struct.Camera_Trig_Delay_cnt ++;
		if(LED_Para_Struct.Camera_Trig_Delay_cnt == LED_Para_Struct.Camera_Trig_Delay)
		{
			LED_Para_Struct.Camera_Trig_Delay_cnt = 0;
			Camera_Trig_ON();

			/*开启定时器12，进行相机触发脉宽控制，基础步长20us*/
			__HAL_TIM_CLEAR_IT(&htim12, TIM_IT_UPDATE);
			__HAL_TIM_SetCounter(&htim12, 0);
			HAL_TIM_Base_Start_IT(&htim12);

			HAL_TIM_Base_Stop_IT(&htim10);       //关定时器

		}
	}

	else if(htim == &htim12)             /*相机触发脉宽控制，基础定时10us*/
	{
		 LED_Para_Struct.Camera_Trig_Pulse_cnt ++;
		if(LED_Para_Struct.Camera_Trig_Pulse_cnt == LED_Para_Struct.Camera_Trig_Pulse)
		{
			LED_Para_Struct.Camera_Trig_Pulse_cnt = 0;
			Camera_Trig_OFF();
			HAL_TIM_Base_Stop_IT(&htim12);       //关定时器
		}
	}

}

/* USER CODE END 4 */

void Error_Handler(void)
{
  __disable_irq();
  while (1)
  {
  }
}
